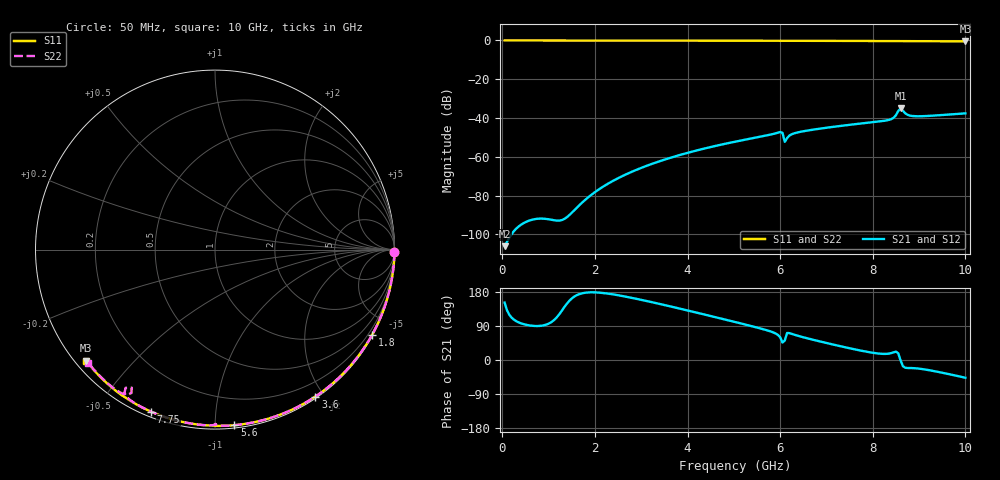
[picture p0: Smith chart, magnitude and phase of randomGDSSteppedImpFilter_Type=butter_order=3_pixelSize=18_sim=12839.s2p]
! freq	dB(S11)	phase(S11)	dB(S12)	phase(S12)
!  dB(S21)	phase(S21)	dB(S22)	phase(S22)
!S-par simulation data
#  GHz  S  DB  R 50
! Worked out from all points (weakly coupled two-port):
!   200 points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, 50 MHz to 10 GHz, reference 50 ohm
!   highest |S21| = -35.01 dB at 8.6 GHz (marker M1); lowest = -106.1 dB at 50 MHz (marker M2)
!   lowest |S11| = -0.5 dB at 10 GHz (marker M3), VSWR 37.28, Z = 1.53 - j18.6 ohm
!   |S11| at or under -10 dB: nowhere
!   |S22| runs from -0.9 to 0.0 dB; largest |S21 - S12| = 0
!   S11 on the Smith chart (normalised r, x): 50 MHz: open; 1.8 GHz: 0.03, -3.94; 3.6 GHz: 0.02, -1.89; 5.6 GHz: 0.02, -1.12; 7.75 GHz: 0.02, -0.68; 10 GHz: 0.03, -0.37
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0.05  -0.00 -0.8  -106.07 151.4  -106.07 151.4  -0.00 -0.8
1.75  -0.04 -27.7  -83.03 176.6  -83.03 176.6  -0.04 -27.6
1.8  -0.04 -28.5  -81.98 177.6  -81.98 177.6  -0.04 -28.4
1.9  -0.04 -30.0  -80.02 178.6  -80.02 178.6  -0.04 -30.0
2.25  -0.05 -35.4  -74.30 175.7  -74.30 175.7  -0.05 -35.3
2.65  -0.05 -41.5  -69.28 167.5  -69.28 167.5  -0.05 -41.4
3.4  -0.07 -52.7  -62.25 147.9  -62.25 147.9  -0.07 -52.6
3.6  -0.07 -55.7  -60.72 142.3  -60.72 142.3  -0.07 -55.5
5.05  -0.12 -76.2  -52.08 99.6  -52.08 99.6  -0.12 -76.0
5.6  -0.14 -83.7  -49.49 82.4  -49.49 82.4  -0.14 -83.5
6  -0.15 -89.1  -47.22 60.2  -47.22 60.2  -0.18 -89.1
6.05  -0.16 -89.7  -47.62 46.0  -47.62 46.0  -0.23 -89.9
6.1  -0.16 -90.4  -52.28 51.5  -52.28 51.5  -0.26 -89.9
6.25  -0.17 -92.3  -48.35 68.9  -48.35 68.9  -0.18 -91.9
6.7  -0.19 -98.2  -46.03 53.7  -46.03 53.7  -0.19 -97.9
7.75  -0.26 -111.5  -42.82 24.6  -42.82 24.6  -0.26 -111.3
8.35  -0.31 -118.9  -40.95 16.8  -40.95 16.8  -0.33 -119.5
8.45  -0.32 -120.2  -39.85 20.3  -39.85 20.3  -0.40 -121.2
8.6  -0.32 -122.0  -35.01 -0.9  -35.01 -0.9  -0.93 -121.1
8.75  -0.33 -123.9  -38.32 -21.1  -38.32 -21.1  -0.44 -122.0
8.9  -0.35 -125.7  -39.05 -21.6  -39.05 -21.6  -0.39 -124.3
10  -0.47 -139.2  -37.59 -46.8  -37.59 -46.8  -0.47 -138.3
